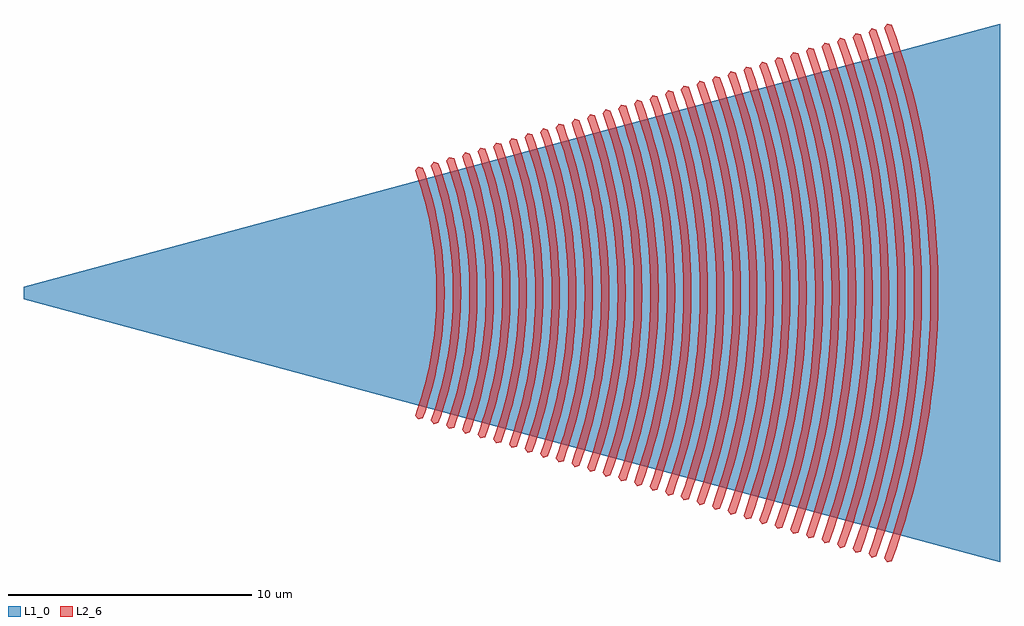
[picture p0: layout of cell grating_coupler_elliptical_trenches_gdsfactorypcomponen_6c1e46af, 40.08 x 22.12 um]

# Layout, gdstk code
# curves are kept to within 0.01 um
import gdstk
lib = gdstk.Library(unit=1e-6, precision=1e-09)
def P(c, l, *ps):  # polygons
    for p in ps: c.add(gdstk.Polygon(p, *l))
L1_0 = (1, 0)
L2_6 = (2, 6)

grating_coupler_elliptic = lib.new_cell('grating_coupler_elliptical_trenches_gdsfactorypcomponen_6c1e46af')
P(grating_coupler_elliptic, L1_0, [(40.551,-11.062),(0.471,-0.25),(0.471,0.25),(40.551,11.062)])
P(grating_coupler_elliptic, L2_6, [(16.656,-5.191),(16.536,-5.031),(16.705,-4.532),(16.925,-3.773),(17.104,-3.005),(17.242,-2.227),(17.363,-1.182),(17.408,-0.132),(17.405,0.395),(17.381,0.92),(17.279,1.967),(17.154,2.746),(16.989,3.518),(16.782,4.279),(16.536,5.031),(16.656,5.191),(16.85,5.141),(17.023,4.632),(17.176,4.117),(17.313,3.596),(17.43,3.071),(17.572,2.277),(17.671,1.476),(17.727,0.673),(17.741,0.134),(17.727,-0.673),(17.671,-1.476),(17.572,-2.277),(17.43,-3.071),(17.313,-3.596),(17.176,-4.117),(17.023,-4.632),(16.85,-5.141)],
  [(17.298,-5.386),(17.178,-5.226),(17.435,-4.446),(17.582,-3.92),(17.768,-3.121),(17.911,-2.314),(17.984,-1.772),(18.037,-1.228),(18.071,-0.682),(18.084,-0.137),(18.081,0.41),(18.056,0.956),(17.95,2.043),(17.82,2.852),(17.648,3.655),(17.435,4.446),(17.178,5.226),(17.298,5.386),(17.492,5.336),(17.671,4.809),(17.831,4.273),(18.094,3.187),(18.241,2.364),(18.344,1.532),(18.403,0.698),(18.418,0.139),(18.403,-0.698),(18.344,-1.532),(18.241,-2.364),(18.094,-3.187),(17.831,-4.273),(17.671,-4.809),(17.492,-5.336)],
  [(17.941,-5.582),(17.82,-5.422),(18.002,-4.883),(18.239,-4.066),(18.432,-3.238),(18.581,-2.4),(18.656,-1.838),(18.711,-1.274),(18.746,-0.709),(18.76,-0.142),(18.756,0.426),(18.731,0.992),(18.686,1.557),(18.581,2.4),(18.432,3.238),(18.239,4.066),(18.002,4.883),(17.82,5.422),(17.941,5.582),(18.134,5.532),(18.32,4.985),(18.485,4.43),(18.632,3.869),(18.758,3.304),(18.911,2.45),(19.018,1.589),(19.063,1.012),(19.094,0.144),(19.078,-0.723),(19.018,-1.589),(18.911,-2.45),(18.758,-3.304),(18.632,-3.869),(18.485,-4.43),(18.32,-4.985),(18.134,-5.532)],
  [(18.582,-5.778),(18.462,-5.618),(18.738,-4.779),(18.968,-3.928),(19.153,-3.066),(19.25,-2.487),(19.329,-1.905),(19.385,-1.32),(19.422,-0.734),(19.437,-0.147),(19.432,0.441),(19.406,1.027),(19.359,1.613),(19.292,2.196),(19.153,3.066),(18.968,3.928),(18.738,4.779),(18.462,5.618),(18.582,5.778),(18.776,5.728),(18.968,5.161),(19.14,4.586),(19.292,4.006),(19.422,3.422),(19.58,2.537),(19.691,1.645),(19.754,0.748),(19.77,0.149),(19.754,-0.748),(19.691,-1.645),(19.58,-2.537),(19.481,-3.128),(19.36,-3.714),(19.218,-4.297),(19.056,-4.875),(18.875,-5.445),(18.776,-5.728)],
  [(19.224,-5.973),(19.104,-5.813),(19.389,-4.945),(19.553,-4.36),(19.76,-3.471),(19.92,-2.573),(20.001,-1.971),(20.059,-1.366),(20.097,-0.76),(20.112,-0.152),(20.108,0.456),(20.081,1.063),(20.001,1.971),(19.92,2.573),(19.76,3.471),(19.553,4.36),(19.389,4.945),(19.104,5.813),(19.224,5.973),(19.418,5.923),(19.617,5.337),(19.794,4.743),(19.951,4.143),(20.086,3.539),(20.25,2.623),(20.364,1.701),(20.413,1.083),(20.446,0.154),(20.429,-0.774),(20.364,-1.701),(20.25,-2.623),(20.147,-3.235),(20.021,-3.841),(19.875,-4.444),(19.709,-5.041),(19.52,-5.631),(19.418,-5.923)],
  [(19.866,-6.169),(19.746,-6.009),(20.04,-5.111),(20.287,-4.202),(20.425,-3.588),(20.589,-2.66),(20.673,-2.037),(20.733,-1.412),(20.773,-0.785),(20.789,-0.158),(20.784,0.472),(20.756,1.098),(20.673,2.037),(20.589,2.66),(20.425,3.588),(20.287,4.202),(20.04,5.111),(19.746,6.009),(19.866,6.169),(20.06,6.119),(20.266,5.513),(20.449,4.9),(20.611,4.28),(20.751,3.656),(20.919,2.71),(21.038,1.757),(21.105,0.799),(21.122,0.16),(21.105,-0.799),(21.038,-1.757),(20.919,-2.71),(20.751,-3.656),(20.611,-4.28),(20.449,-4.9),(20.266,-5.513),(20.06,-6.119)],
  [(20.508,-6.365),(20.388,-6.205),(20.692,-5.278),(20.868,-4.653),(21.089,-3.705),(21.259,-2.747),(21.345,-2.104),(21.408,-1.458),(21.448,-0.811),(21.464,-0.163),(21.46,0.487),(21.431,1.135),(21.345,2.104),(21.259,2.747),(21.089,3.705),(20.868,4.653),(20.692,5.278),(20.388,6.205),(20.508,6.365),(20.702,6.315),(20.914,5.69),(21.103,5.056),(21.271,4.417),(21.415,3.773),(21.589,2.797),(21.711,1.813),(21.763,1.155),(21.798,0.165),(21.78,-0.825),(21.711,-1.813),(21.589,-2.797),(21.415,-3.773),(21.271,-4.417),(21.103,-5.056),(20.914,-5.69),(20.702,-6.315)],
  [(21.151,-6.56),(21.03,-6.4),(21.245,-5.764),(21.525,-4.8),(21.753,-3.821),(21.928,-2.833),(22.017,-2.17),(22.082,-1.504),(22.123,-0.837),(22.141,-0.168),(22.135,0.502),(22.106,1.171),(22.017,2.17),(21.928,2.833),(21.753,3.821),(21.525,4.8),(21.344,5.444),(21.03,6.4),(21.151,6.56),(21.344,6.51),(21.456,6.189),(21.664,5.54),(21.847,4.884),(22.079,3.889),(22.258,2.883),(22.384,1.869),(22.438,1.191),(22.474,0.17),(22.455,-0.851),(22.414,-1.53),(22.306,-2.546),(22.145,-3.555),(22.007,-4.222),(21.847,-4.884),(21.563,-5.866),(21.344,-6.51)],
  [(21.792,-6.756),(21.672,-6.596),(21.996,-5.611),(22.182,-4.947),(22.417,-3.938),(22.598,-2.92),(22.69,-2.236),(22.756,-1.55),(22.799,-0.862),(22.816,-0.173),(22.811,0.518),(22.756,1.55),(22.69,2.236),(22.598,2.92),(22.417,3.938),(22.182,4.947),(21.996,5.611),(21.672,6.596),(21.792,6.756),(21.986,6.706),(22.102,6.375),(22.314,5.707),(22.504,5.031),(22.743,4.006),(22.928,2.97),(23.057,1.926),(23.131,0.876),(23.15,0.175),(23.131,-0.876),(23.088,-1.576),(22.977,-2.623),(22.811,-3.662),(22.669,-4.348),(22.504,-5.031),(22.314,-5.707),(22.102,-6.375),(21.986,-6.706)],
  [(22.436,-6.951),(22.315,-6.792),(22.647,-5.777),(22.926,-4.749),(23.081,-4.055),(23.267,-3.007),(23.362,-2.303),(23.43,-1.596),(23.474,-0.888),(23.492,-0.178),(23.487,0.533),(23.43,1.596),(23.362,2.303),(23.267,3.007),(23.081,4.055),(22.926,4.749),(22.647,5.777),(22.315,6.792),(22.436,6.951),(22.629,6.9),(22.747,6.561),(22.967,5.873),(23.161,5.177),(23.407,4.123),(23.597,3.057),(23.731,1.982),(23.806,0.902),(23.825,0.18),(23.806,-0.902),(23.731,-1.982),(23.648,-2.699),(23.477,-3.769),(23.25,-4.827),(23.066,-5.526),(22.86,-6.218),(22.629,-6.9)],
  [(23.078,-7.147),(22.957,-6.987),(23.191,-6.294),(23.496,-5.24),(23.745,-4.173),(23.937,-3.093),(24.034,-2.369),(24.104,-1.642),(24.15,-0.913),(24.168,-0.183),(24.163,0.548),(24.13,1.278),(24.034,2.369),(23.937,3.093),(23.745,4.173),(23.496,5.24),(23.191,6.294),(22.957,6.987),(23.078,7.147),(23.271,7.097),(23.393,6.747),(23.721,5.683),(23.909,4.964),(24.071,4.239),(24.267,3.143),(24.404,2.038),(24.482,0.927),(24.502,0.185),(24.482,-0.927),(24.404,-2.038),(24.267,-3.143),(24.143,-3.875),(23.909,-4.964),(23.721,-5.683),(23.509,-6.394),(23.271,-7.097)],
  [(23.72,-7.343),(23.599,-7.184),(23.95,-6.11),(24.153,-5.387),(24.409,-4.29),(24.548,-3.551),(24.66,-2.808),(24.778,-1.688),(24.825,-0.939),(24.844,-0.187),(24.838,0.564),(24.805,1.314),(24.706,2.435),(24.606,3.18),(24.409,4.29),(24.245,5.023),(23.95,6.11),(23.599,7.184),(23.72,7.343),(23.913,7.292),(24.038,6.933),(24.27,6.206),(24.475,5.471),(24.735,4.356),(24.936,3.23),(25.077,2.094),(25.137,1.334),(25.177,0.191),(25.157,-0.953),(25.077,-2.094),(24.99,-2.852),(24.809,-3.982),(24.569,-5.101),(24.375,-5.839),(24.157,-6.571),(23.913,-7.292)],
  [(24.362,-7.538),(24.241,-7.379),(24.602,-6.276),(24.81,-5.533),(25.073,-4.407),(25.276,-3.266),(25.378,-2.502),(25.453,-1.734),(25.501,-0.964),(25.52,-0.193),(25.501,0.964),(25.453,1.734),(25.378,2.502),(25.276,3.266),(25.073,4.407),(24.81,5.533),(24.602,6.276),(24.241,7.379),(24.362,7.538),(24.555,7.487),(24.683,7.119),(25.03,5.996),(25.228,5.237),(25.399,4.473),(25.606,3.316),(25.75,2.15),(25.833,0.978),(25.854,0.195),(25.833,-0.978),(25.785,-1.76),(25.661,-2.929),(25.475,-4.089),(25.228,-5.237),(25.03,-5.996),(24.806,-6.747),(24.555,-7.487)],
  [(25.004,-7.734),(24.883,-7.574),(25.136,-6.822),(25.468,-5.68),(25.738,-4.523),(25.945,-3.353),(26.051,-2.568),(26.127,-1.78),(26.176,-0.99),(26.196,-0.198),(26.19,0.594),(26.155,1.385),(26.051,2.568),(25.945,3.353),(25.738,4.523),(25.468,5.68),(25.136,6.822),(24.883,7.574),(25.004,7.734),(25.197,7.684),(25.329,7.305),(25.573,6.539),(25.79,5.764),(26.064,4.589),(26.275,3.403),(26.424,2.206),(26.487,1.405),(26.53,0.2),(26.508,-1.004),(26.424,-2.206),(26.275,-3.403),(26.141,-4.195),(25.979,-4.983),(25.79,-5.764),(25.454,-6.922),(25.197,-7.684)],
  [(25.646,-7.929),(25.525,-7.769),(25.785,-6.998),(26.125,-5.827),(26.402,-4.64),(26.615,-3.44),(26.723,-2.634),(26.801,-1.826),(26.851,-1.015),(26.872,-0.204),(26.866,0.61),(26.83,1.421),(26.723,2.634),(26.615,3.44),(26.402,4.64),(26.125,5.827),(25.785,6.998),(25.525,7.769),(25.646,7.929),(25.839,7.879),(25.974,7.491),(26.225,6.705),(26.447,5.911),(26.728,4.706),(26.945,3.49),(27.097,2.263),(27.162,1.441),(27.206,0.206),(27.183,-1.029),(27.097,-2.263),(26.945,-3.49),(26.807,-4.303),(26.548,-5.511),(26.339,-6.309),(26.103,-7.1),(25.839,-7.879)],
  [(26.287,-8.125),(26.167,-7.965),(26.434,-7.175),(26.782,-5.974),(26.979,-5.164),(27.219,-3.937),(27.395,-2.701),(27.475,-1.872),(27.527,-1.041),(27.548,-0.209),(27.542,0.625),(27.505,1.457),(27.395,2.701),(27.284,3.526),(27.066,4.756),(26.782,5.974),(26.434,7.175),(26.167,7.965),(26.287,8.125),(26.481,8.075),(26.62,7.677),(26.876,6.872),(27.104,6.058),(27.392,4.824),(27.614,3.576),(27.77,2.319),(27.837,1.477),(27.882,0.211),(27.859,-1.055),(27.77,-2.319),(27.614,-3.576),(27.474,-4.409),(27.303,-5.236),(27.104,-6.058),(26.752,-7.275),(26.481,-8.075)],
  [(26.93,-8.321),(26.809,-8.161),(27.209,-6.942),(27.439,-6.12),(27.641,-5.291),(27.887,-4.034),(28.014,-3.191),(28.112,-2.343),(28.18,-1.493),(28.225,-0.213),(28.217,0.64),(28.18,1.493),(28.067,2.767),(27.954,3.613),(27.73,4.873),(27.543,5.707),(27.209,6.942),(26.809,8.161),(26.93,8.321),(27.123,8.271),(27.265,7.863),(27.648,6.622),(27.867,5.785),(28.056,4.941),(28.284,3.663),(28.444,2.375),(28.512,1.513),(28.558,0.217),(28.534,-1.081),(28.444,-2.375),(28.284,-3.663),(28.14,-4.516),(27.867,-5.785),(27.648,-6.622),(27.4,-7.452),(27.123,-8.271)],
  [(27.571,-8.516),(27.451,-8.356),(27.86,-7.109),(28.096,-6.267),(28.303,-5.418),(28.555,-4.131),(28.739,-2.833),(28.824,-1.964),(28.878,-1.092),(28.9,-0.218),(28.893,0.656),(28.855,1.528),(28.739,2.833),(28.623,3.7),(28.394,4.991),(28.203,5.843),(27.86,7.109),(27.451,8.356),(27.571,8.516),(27.765,8.466),(27.911,8.048),(28.18,7.205),(28.418,6.351),(28.72,5.057),(28.953,3.75),(29.117,2.431),(29.187,1.548),(29.234,0.222),(29.21,-1.106),(29.156,-1.99),(29.015,-3.311),(28.806,-4.623),(28.527,-5.921),(28.302,-6.779),(28.049,-7.628),(27.765,-8.466)],
  [(28.214,-8.712),(28.093,-8.552),(28.512,-7.275),(28.753,-6.414),(28.965,-5.545),(29.223,-4.228),(29.412,-2.9),(29.498,-2.01),(29.553,-1.118),(29.577,-0.224),(29.569,0.671),(29.498,2.01),(29.412,2.9),(29.293,3.786),(29.058,5.108),(28.753,6.414),(28.512,7.275),(28.093,8.552),(28.214,8.712),(28.407,8.662),(28.556,8.234),(28.957,6.935),(29.186,6.058),(29.384,5.174),(29.623,3.836),(29.79,2.487),(29.885,1.132),(29.91,0.226),(29.885,-1.132),(29.83,-2.036),(29.686,-3.387),(29.472,-4.73),(29.186,-6.058),(28.957,-6.935),(28.697,-7.803),(28.407,-8.662)],
  [(28.856,-8.907),(28.735,-8.747),(29.028,-7.879),(29.41,-6.561),(29.627,-5.672),(29.891,-4.324),(30.084,-2.966),(30.172,-2.056),(30.229,-1.143),(30.252,-0.229),(30.245,0.686),(30.172,2.056),(30.084,2.966),(29.962,3.873),(29.722,5.224),(29.522,6.117),(29.163,7.441),(28.735,8.747),(28.856,8.907),(29.049,8.857),(29.346,7.981),(29.732,6.645),(30.048,5.29),(30.219,4.38),(30.414,3.004),(30.536,1.62),(30.586,0.231),(30.561,-1.157),(30.504,-2.082),(30.357,-3.464),(30.138,-4.837),(29.846,-6.195),(29.611,-7.092),(29.346,-7.981),(29.049,-8.857)],
  [(29.497,-9.103),(29.377,-8.943),(29.677,-8.055),(30.068,-6.707),(30.386,-5.34),(30.559,-4.421),(30.698,-3.496),(30.805,-2.568),(30.904,-1.169),(30.929,-0.234),(30.921,0.702),(30.846,2.102),(30.756,3.033),(30.632,3.959),(30.386,5.34),(30.068,6.707),(29.677,8.055),(29.377,8.943),(29.497,9.103),(29.691,9.053),(29.995,8.157),(30.39,6.791),(30.712,5.408),(30.962,4.009),(31.137,2.6),(31.211,1.656),(31.262,0.236),(31.236,-1.183),(31.137,-2.6),(30.962,-4.009),(30.804,-4.943),(30.506,-6.332),(30.266,-7.249),(29.995,-8.157),(29.691,-9.053)],
  [(30.14,-9.299),(30.019,-9.139),(30.325,-8.231),(30.725,-6.854),(30.95,-5.925),(31.226,-4.518),(31.369,-3.573),(31.478,-2.624),(31.58,-1.194),(31.604,-0.238),(31.596,0.717),(31.554,1.671),(31.428,3.099),(31.301,4.046),(31.05,5.457),(30.725,6.854),(30.325,8.231),(30.019,9.139),(30.14,9.299),(30.333,9.249),(30.643,8.333),(31.047,6.938),(31.376,5.525),(31.631,4.096),(31.81,2.656),(31.912,1.208),(31.938,0.242),(31.912,-1.208),(31.81,-2.656),(31.631,-4.096),(31.47,-5.05),(31.274,-5.997),(31.047,-6.938),(30.643,-8.333),(30.333,-9.249)],
  [(30.781,-9.494),(30.661,-9.334),(31.119,-7.941),(31.382,-7.001),(31.715,-5.574),(31.894,-4.614),(32.04,-3.649),(32.151,-2.68),(32.255,-1.22),(32.281,-0.243),(32.272,0.732),(32.229,1.707),(32.1,3.165),(31.971,4.133),(31.715,5.574),(31.382,7.001),(31.119,7.941),(30.661,9.334),(30.781,9.494),(30.975,9.444),(31.292,8.509),(31.704,7.085),(32.041,5.642),(32.301,4.183),(32.483,2.712),(32.561,1.727),(32.614,0.247),(32.587,-1.234),(32.483,-2.712),(32.301,-4.183),(32.136,-5.157),(31.825,-6.605),(31.575,-7.562),(31.292,-8.509),(30.975,-9.444)],
  [(31.424,-9.69),(31.303,-9.53),(31.77,-8.107),(32.039,-7.147),(32.379,-5.691),(32.562,-4.711),(32.773,-3.232),(32.869,-2.24),(32.93,-1.245),(32.956,-0.25),(32.948,0.748),(32.869,2.24),(32.773,3.232),(32.64,4.219),(32.379,5.691),(32.161,6.664),(31.77,8.107),(31.303,9.53),(31.424,9.69),(31.617,9.64),(31.94,8.684),(32.361,7.231),(32.705,5.759),(32.97,4.269),(33.103,3.27),(33.236,1.763),(33.289,0.252),(33.28,-0.756),(33.201,-2.266),(33.041,-3.77),(32.802,-5.264),(32.485,-6.742),(32.229,-7.718),(31.94,-8.684),(31.617,-9.64)],
  [(32.066,-9.886),(31.945,-9.726),(32.271,-8.76),(32.696,-7.294),(32.936,-6.306),(33.23,-4.808),(33.445,-3.298),(33.543,-2.286),(33.606,-1.271),(33.632,-0.255),(33.624,0.763),(33.579,1.779),(33.445,3.298),(33.31,4.306),(33.043,5.807),(32.696,7.294),(32.271,8.76),(31.945,9.726),(32.066,9.886),(32.259,9.836),(32.589,8.862),(33.018,7.378),(33.369,5.875),(33.64,4.356),(33.83,2.824),(33.911,1.799),(33.966,0.257),(33.938,-1.285),(33.83,-2.824),(33.64,-4.356),(33.468,-5.371),(33.144,-6.879),(32.883,-7.875),(32.589,-8.862),(32.259,-9.836)],
  [(32.707,-10.081),(32.587,-9.921),(32.92,-8.936),(33.353,-7.441),(33.598,-6.433),(33.898,-4.905),(34.117,-3.364),(34.217,-2.332),(34.281,-1.297),(34.308,-0.26),(34.3,0.778),(34.254,1.814),(34.117,3.364),(33.979,4.392),(33.707,5.925),(33.48,6.938),(33.073,8.44),(32.587,9.921),(32.707,10.081),(32.901,10.031),(33.238,9.038),(33.675,7.525),(34.033,5.991),(34.309,4.442),(34.503,2.88),(34.586,1.834),(34.642,0.262),(34.613,-1.311),(34.503,-2.88),(34.383,-3.923),(34.134,-5.477),(33.804,-7.016),(33.538,-8.032),(33.238,-9.038),(32.901,-10.031)],
  [(33.35,-10.277),(33.229,-10.117),(33.724,-8.607),(34.01,-7.588),(34.26,-6.559),(34.566,-5.001),(34.789,-3.431),(34.891,-2.378),(34.957,-1.322),(34.984,-0.264),(34.975,0.794),(34.929,1.85),(34.789,3.431),(34.649,4.479),(34.371,6.041),(34.01,7.588),(33.724,8.607),(33.229,10.117),(33.35,10.277),(33.543,10.227),(34.044,8.703),(34.463,7.153),(34.801,5.584),(34.979,4.529),(35.176,2.937),(35.261,1.87),(35.318,0.268),(35.289,-1.336),(35.176,-2.937),(34.979,-4.529),(34.801,-5.584),(34.463,-7.153),(34.044,-8.703),(33.543,-10.227)],
  [(33.991,-10.472),(33.871,-10.312),(34.217,-9.289),(34.668,-7.734),(34.922,-6.686),(35.234,-5.098),(35.395,-4.032),(35.518,-2.961),(35.632,-1.348),(35.66,-0.269),(35.632,1.348),(35.565,2.424),(35.461,3.497),(35.318,4.566),(35.234,5.098),(35.035,6.158),(34.668,7.734),(34.217,9.289),(33.871,10.312),(33.991,10.472),(34.185,10.422),(34.365,9.908),(34.696,8.869),(35.123,7.289),(35.467,5.691),(35.725,4.076),(35.85,2.993),(35.964,1.362),(35.994,0.273),(35.994,-0.273),(35.964,-1.362),(35.85,-2.993),(35.725,-4.076),(35.467,-5.691),(35.123,-7.289),(34.696,-8.869),(34.365,-9.908),(34.185,-10.422)],
  [(34.633,-10.668),(34.513,-10.508),(35.028,-8.939),(35.325,-7.881),(35.584,-6.813),(35.902,-5.195),(36.066,-4.108),(36.191,-3.017),(36.308,-1.373),(36.336,-0.274),(36.327,0.824),(36.278,1.922),(36.134,3.563),(35.988,4.652),(35.902,5.195),(35.699,6.275),(35.584,6.813),(35.325,7.881),(35.028,8.939),(34.513,10.508),(34.633,10.668),(34.827,10.618),(35.01,10.094),(35.348,9.035),(35.783,7.426),(36.133,5.798),(36.318,4.702),(36.523,3.049),(36.64,1.387),(36.67,0.278),(36.67,-0.278),(36.64,-1.387),(36.523,-3.049),(36.318,-4.702),(36.133,-5.798),(35.783,-7.426),(35.348,-9.035),(35.01,-10.094),(34.827,-10.618)],
  [(35.276,-10.864),(35.155,-10.704),(35.514,-9.641),(35.836,-8.568),(35.982,-8.028),(36.246,-6.94),(36.569,-5.291),(36.806,-3.63),(36.914,-2.516),(36.983,-1.399),(37.012,-0.28),(37.003,0.84),(36.914,2.516),(36.806,3.63),(36.657,4.739),(36.569,5.291),(36.363,6.392),(36.246,6.94),(35.982,8.028),(35.836,8.568),(35.514,9.641),(35.155,10.704),(35.276,10.864),(35.469,10.814),(35.832,9.743),(35.999,9.202),(36.304,8.112),(36.442,7.563),(36.799,5.904),(36.987,4.789),(37.196,3.105),(37.285,1.978),(37.346,0.282),(37.346,-0.282),(37.315,-1.413),(37.246,-2.542),(37.136,-3.668),(37.066,-4.229),(36.987,-4.789),(36.799,-5.904),(36.442,-7.563),(36.304,-8.112),(35.999,-9.202),(35.832,-9.743),(35.469,-10.814)],
  [(35.917,-11.059),(35.797,-10.899),(36.163,-9.817),(36.49,-8.725),(36.639,-8.174),(36.778,-7.622),(37.027,-6.508),(37.237,-5.388),(37.478,-3.696),(37.588,-2.562),(37.658,-1.424),(37.689,-0.285),(37.679,0.854),(37.588,2.562),(37.478,3.696),(37.327,4.826),(37.137,5.949),(37.027,6.508),(36.778,7.622),(36.639,8.174),(36.49,8.725),(36.163,9.817),(35.797,10.899),(35.917,11.059),(36.111,11.009),(36.301,10.466),(36.651,9.368),(37.102,7.7),(37.233,7.139),(37.465,6.011),(37.657,4.876),(37.869,3.161),(37.96,2.013),(38.022,0.287),(38.011,-0.864),(37.92,-2.588),(37.808,-3.734),(37.737,-4.305),(37.657,-4.876),(37.465,-6.011),(37.233,-7.139),(37.102,-7.7),(36.651,-9.368),(36.481,-9.919),(36.111,-11.009)])

lib.write_gds('grating_coupler_elliptical_trenches_gdsfactorypcomponen_6c1e46af.gds')
